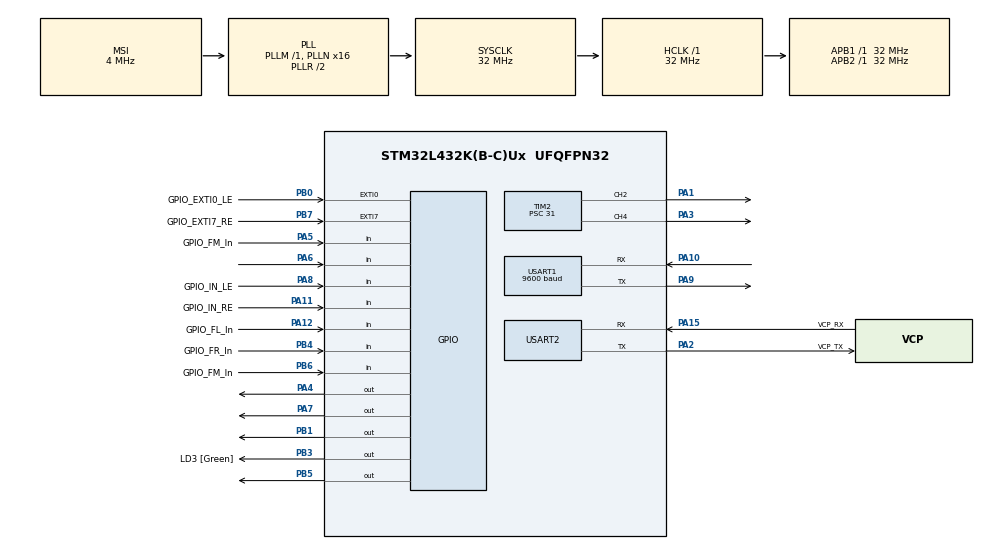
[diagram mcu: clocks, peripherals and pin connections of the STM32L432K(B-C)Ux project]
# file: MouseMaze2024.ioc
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Mcu.Family=STM32L4
Mcu.Name=STM32L432K(B-C)Ux
Mcu.Package=UFQFPN32
NVIC.EXTI0_IRQn=true\:0\:0\:true\:false\:true\:true\:true\:true
NVIC.EXTI9_5_IRQn=true\:0\:0\:true\:false\:true\:true\:true\:true
NVIC.PriorityGroup=NVIC_PRIORITYGROUP_4
PA0.GPIO_Label=MCO [High speed clock in]
PA0.Mode=HSE-External-Clock-Source-for-LittleOrca
PA0.Signal=RCC_CK_IN
PA1.Signal=S_TIM2_CH2
PA10.Mode=Asynchronous
PA10.Signal=USART1_RX
PA11.GPIO_Label=GPIO_IN_RE
PA11.Signal=GPIO_Input
PA12.GPIO_Label=GPIO_FL_In
PA12.Signal=GPIO_Input
PA13\ (JTMS-SWDIO).GPIO_Label=SWDIO
PA13\ (JTMS-SWDIO).Mode=Serial_Wire
PA13\ (JTMS-SWDIO).Signal=SYS_JTMS-SWDIO
PA14\ (JTCK-SWCLK).GPIO_Label=SWCLK
PA14\ (JTCK-SWCLK).Mode=Serial_Wire
PA14\ (JTCK-SWCLK).Signal=SYS_JTCK-SWCLK
PA15\ (JTDI).GPIO_Label=VCP_RX
PA15\ (JTDI).Mode=Asynchronous
PA15\ (JTDI).Signal=USART2_RX
PA2.GPIO_Label=VCP_TX
PA2.Mode=Asynchronous
PA2.Signal=USART2_TX
PA3.Signal=S_TIM2_CH4
PA4.Signal=GPIO_Output
PA5.GPIO_Label=GPIO_FM_In
PA5.Signal=GPIO_Input
PA6.Signal=GPIO_Input
PA7.Signal=GPIO_Output
PA8.GPIO_Label=GPIO_IN_LE
PA8.Signal=GPIO_Input
PA9.Mode=Asynchronous
PA9.Signal=USART1_TX
PB0.GPIO_Label=GPIO_EXTI0_LE
PB0.Signal=GPXTI0
PB1.Signal=GPIO_Output
PB3\ (JTDO-TRACESWO).GPIO_Label=LD3 [Green]
PB3\ (JTDO-TRACESWO).Signal=GPIO_Output
PB4\ (NJTRST).GPIO_Label=GPIO_FR_In
PB4\ (NJTRST).Signal=GPIO_Input
PB5.Signal=GPIO_Output
PB6.GPIO_Label=GPIO_FM_In
PB6.Signal=GPIO_Input
PB7.GPIO_Label=GPIO_EXTI7_RE
PB7.Signal=GPXTI7
PC14-OSC32_IN\ (PC14).Mode=LSE-External-Oscillator
PC14-OSC32_IN\ (PC14).Signal=RCC_OSC32_IN
PC15-OSC32_OUT\ (PC15).Mode=LSE-External-Oscillator
PC15-OSC32_OUT\ (PC15).Signal=RCC_OSC32_OUT
ProjectManager.HeapSize=0x200
ProjectManager.StackSize=0x400
ProjectManager.TargetToolchain=STM32CubeIDE
RCC.AHBFreq_Value=32000000
RCC.APB1Freq_Value=32000000
RCC.APB1TimFreq_Value=32000000
RCC.APB2Freq_Value=32000000
RCC.APB2TimFreq_Value=32000000
RCC.CortexFreq_Value=32000000
RCC.HCLKFreq_Value=32000000
RCC.HSE_VALUE=8000000
RCC.HSI16_VALUE=16000000
RCC.HSI48_VALUE=48000000
RCC.HSI_VALUE=16000000
RCC.MSI_VALUE=4000000
RCC.PLLMUL=RCC_PLLMUL_4
RCC.PLLN=16
RCC.SYSCLKFreq_VALUE=32000000
RCC.SYSCLKSource=RCC_SYSCLKSOURCE_PLLCLK
RCC.VCOOutputFreq_Value=64000000
SH.S_TIM2_CH2.0=TIM2_CH2,PWM Generation2 CH2
SH.S_TIM2_CH4.0=TIM2_CH4,PWM Generation4 CH4
TIM2.AutoReloadPreload=TIM_AUTORELOAD_PRELOAD_ENABLE
TIM2.Channel-PWM\ Generation2\ CH2=TIM_CHANNEL_2
TIM2.Channel-PWM\ Generation4\ CH4=TIM_CHANNEL_4
TIM2.OCMode_PWM-PWM\ Generation4\ CH4=TIM_OCMODE_PWM1
TIM2.Period=99
TIM2.Prescaler=31
TIM2.Pulse-PWM\ Generation2\ CH2=0
TIM2.Pulse-PWM\ Generation4\ CH4=0
USART1.BaudRate=9600
USART1.VirtualMode-Asynchronous=VM_ASYNC
USART2.VirtualMode-Asynchronous=VM_ASYNC
VP_TIM2_VS_ClockSourceINT.Mode=Internal
board=NUCLEO-L432KC

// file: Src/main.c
/* USER CODE BEGIN Header */
/**
  ******************************************************************************
  * @file           : main.c
  * @brief          : Main program body
  ******************************************************************************
  * @attention
  *
  * Copyright (c) 2024 STMicroelectronics.
  * All rights reserved.
  *
  * This software is licensed under terms that can be found in the LICENSE file
  * in the root directory of this software component.
  * If no LICENSE file comes with this software, it is provided AS-IS.
  *
  ******************************************************************************
  */
/* USER CODE END Header */
#include "main.h"

/* USER CODE BEGIN Includes */
#include <stdio.h>
/* USER CODE END Includes */

/* USER CODE BEGIN PD */
#define RIGHT_MOTOR_PWM TIM_CHANNEL_2
#define LEFT_MOTOR_PWM  TIM_CHANNEL_4

#define GPIO_FR_In GPIOB,GPIO_PIN_6
#define GPIO_LS_In GPIOA,GPIO_PIN_6
#define GPIO_FM_In GPIOA,GPIO_PIN_5
#define GPIO_RS_In GPIOB ,GPIO_PIN_4
#define GPIO_FL_In GPIOA ,GPIO_PIN_12

/* USER CODE END PD */

TIM_HandleTypeDef htim2;

UART_HandleTypeDef huart1;
UART_HandleTypeDef huart2;

/* USER CODE BEGIN PV */
// Global variables to store encoder counts

// Declare variables to store encoder counts
volatile int EN1 = 0;
volatile int EN2 = 0;
volatile uint8_t right_wall ;
volatile uint8_t front_wall;
volatile uint8_t rightSensorStatus ;
volatile uint8_t leftSensorStatus;

/* USER CODE END PV */

void SystemClock_Config(void);
static void MX_GPIO_Init(void);
static void MX_TIM2_Init(void);
static void MX_USART2_UART_Init(void);
static void MX_USART1_UART_Init(void);
/* USER CODE BEGIN PFP */
void MoveMotorLeftForward(uint8_t speed);
void MoveMotorRightForward(uint8_t speed);
void MoveMotorLeftBackward(uint8_t speed);
void MoveMotorRightBackward(uint8_t speed);
void FollowLine(void);
void set_motor_speed(uint32_t right_speed, uint32_t left_speed);
int read_sensor(GPIO_TypeDef *GPIOx, uint16_t GPIO_Pin);
void follow_right_wall(void);

void turn_90_degrees_left(void);

int get_right_encoder_count(void);
int get_left_encoder_count(void);

/* USER CODE END PFP */

/* USER CODE BEGIN 0 */
// Define constants

void HAL_GPIO_EXTI_Callback(uint16_t GPIO_Pin)
{
    if (GPIO_Pin == GPIO_PIN_7)
    {

    	GPIO_PinState pinState = HAL_GPIO_ReadPin(GPIOA, GPIO_PIN_11);

    	        // Update encoder count based on the state of GPIO_PIN_11
    	        if (pinState == GPIO_PIN_SET)
    	        {
    	            EN1++;
    	        }
    	        else
    	        {
    	            EN1--;
    	        }

    }

    if (GPIO_Pin == GPIO_PIN_0)
    {
        // Read current state of encoder pin PB0

    	GPIO_PinState pinState2 = HAL_GPIO_ReadPin(GPIOA, GPIO_PIN_8);

    	 // Update encoder count based on the state of GPIO_PIN_11
    	    	        if (pinState2 == GPIO_PIN_SET)
    	    	        {
    	    	            EN2++;
    	    	        }
    	    	        else
    	    	        {
    	    	            EN2--;
    	    	        }
    }
}

void turn_90_degrees_left() {
	EN1 = 0;
	EN2 = 0;
	    while (EN1 <=220 && EN2 <= 220) {

	        MoveMotorRightForward(55);
	        MoveMotorLeftBackward(60);

	    }
}

void stop(){
	__HAL_TIM_SET_COMPARE(&htim2, TIM_CHANNEL_2, 0);
	__HAL_TIM_SET_COMPARE(&htim2, TIM_CHANNEL_4, 0);
}

void MoveMotorLeftBackward(uint8_t speed) {
    // Set motor to spin forward
	HAL_GPIO_WritePin(GPIOB, GPIO_PIN_5,GPIO_PIN_SET ); // BIN1 = High
	HAL_GPIO_WritePin(GPIOB, GPIO_PIN_1, GPIO_PIN_RESET); // BIN2 = Low

    // Set speed

    __HAL_TIM_SET_COMPARE(&htim2, TIM_CHANNEL_2, speed);
    //HAL_TIM_PWM_Start(&htim2, TIM_CHANNEL_2); // Ensure PWM is started

}
void MoveMotorLeftForward(uint8_t speed) {
    // Set motor to spin backward
	 HAL_GPIO_WritePin(GPIOB, GPIO_PIN_5, GPIO_PIN_RESET); // BIN1 = Low
	 HAL_GPIO_WritePin(GPIOB, GPIO_PIN_1, GPIO_PIN_SET); // BIN2 = High

    // Set speed

    __HAL_TIM_SET_COMPARE(&htim2, TIM_CHANNEL_2, speed);
   // HAL_TIM_PWM_Start(&htim2, TIM_CHANNEL_2); // Ensure PWM is started
}

void MoveMotorRightBackward(uint8_t speed) {
    // Set motor2 to spin forward
    HAL_GPIO_WritePin(GPIOA, GPIO_PIN_4, GPIO_PIN_SET);   //AIN1 = High
    HAL_GPIO_WritePin(GPIOA, GPIO_PIN_7, GPIO_PIN_RESET); // AIN2 = Low

    // Set speed for motor2

    __HAL_TIM_SET_COMPARE(&htim2, TIM_CHANNEL_4, speed);

}

void MoveMotorRightForward(uint8_t speed) {
    // Set motor2 to spin backward
    HAL_GPIO_WritePin(GPIOA, GPIO_PIN_4, GPIO_PIN_RESET); // IN1 = Low
    HAL_GPIO_WritePin(GPIOA, GPIO_PIN_7, GPIO_PIN_SET);   // BIN2 = High

    // Set speed for motor2

    __HAL_TIM_SET_COMPARE(&htim2, TIM_CHANNEL_4, speed);

}
void FollowLine(void) {
    int leftSensorStatus = HAL_GPIO_ReadPin(GPIOA, GPIO_FL_In_Pin);  // Read left IR sensor
    int rightSensorStatus = HAL_GPIO_ReadPin(GPIOB,GPIO_FR_In_Pin); // Read right IR sensor

    if (leftSensorStatus == GPIO_PIN_RESET && rightSensorStatus == GPIO_PIN_RESET) {
        // Both sensors detect the line, move forward
        MoveMotorLeftForward(65);
        MoveMotorRightForward(70);

    } else if (leftSensorStatus == GPIO_PIN_RESET && rightSensorStatus == GPIO_PIN_SET) {
        // Left sensor detects the line, right sen doesnt detect, turn slightly left
        MoveMotorLeftForward(20);
        MoveMotorRightForward(80);

    } else if  ( leftSensorStatus== GPIO_PIN_SET && rightSensorStatus == GPIO_PIN_RESET){

        // Left sensor doesnt detects the line, right sensor detects the line, turn slightly right
        MoveMotorLeftForward(80);
        MoveMotorRightForward(24);

    }

}

void follow_right_wall(void) {

	//GPIO_PIN_RESET - wall detecting
	 right_wall = HAL_GPIO_ReadPin(GPIOB, GPIO_PIN_6);
     front_wall = HAL_GPIO_ReadPin(GPIOA, GPIO_PIN_5);
     rightSensorStatus = HAL_GPIO_ReadPin(GPIOB, GPIO_FR_In_Pin);
     leftSensorStatus = HAL_GPIO_ReadPin(GPIOA, GPIO_FL_In_Pin);

    if (right_wall == GPIO_PIN_RESET){

   	//go straight
   	   MoveMotorLeftForward(55);
   	   MoveMotorRightForward(60);

    }else if(right_wall == GPIO_PIN_SET) {
       // Slightly speed up left motor to straighten the robot
   	    MoveMotorLeftForward(80);
   	    MoveMotorRightForward(30);

    }else if(front_wall == GPIO_PIN_RESET){

    	turn_90_degrees_left();

    }else if (rightSensorStatus == GPIO_PIN_SET) {

    	MoveMotorLeftForward(30);
        MoveMotorRightForward(70);
        FollowLine();

    }

}

int read_sensor(GPIO_TypeDef *GPIOx, uint16_t GPIO_Pin) {
    return HAL_GPIO_ReadPin(GPIOx, GPIO_Pin);
}

/* USER CODE END 0 */

int main(void)
{

  /* MCU Configuration--------------------------------------------------------*/

  /* Reset of all peripherals, Initializes the Flash interface and the Systick. */
  HAL_Init();

  /* Configure the system clock */
  SystemClock_Config();

  /* Initialize all configured peripherals */
  MX_GPIO_Init();
  MX_TIM2_Init();
  MX_USART2_UART_Init();
  MX_USART1_UART_Init();
  /* USER CODE BEGIN 2 */
  // Initialization code somewhere after configuring the PWM channel

    HAL_TIM_PWM_Start(&htim2, TIM_CHANNEL_2); 									// Start PWM on TIM2, Channel 2     (Motor B)
    HAL_TIM_PWM_Start(&htim2, TIM_CHANNEL_4); 									// Start PWM on TIM2, Channel       (Motor A)

  /* USER CODE END 2 */

  /* Infinite loop */
  while (1)
  {

    /* USER CODE BEGIN 3 */

//	  if((front_wall == GPIO_PIN_SET) &&  (right_wall == GPIO_PIN_SET )  && (left_wall == GPIO_PIN_SET)){
//
//	  			MoveMotorLeftForward(40);
//	  	     	MoveMotorRightForward(60);
//
//	  	    	FollowLine();

	  	    //}+
//	 char msg[64];
//	          int msg_length = sprintf(msg, "Ticks R : %d, Ticks L : %d\r\n", EN1, EN2);
//	          HAL_UART_Transmit(&huart2, (uint8_t*)msg, msg_length, HAL_MAX_DELAY);
//

	  follow_right_wall();

  }
  /* USER CODE END 3 */
}

void SystemClock_Config(void)
{
  RCC_OscInitTypeDef RCC_OscInitStruct = {0};
  RCC_ClkInitTypeDef RCC_ClkInitStruct = {0};

  /** Configure the main internal regulator output voltage
  */
  if (HAL_PWREx_ControlVoltageScaling(PWR_REGULATOR_VOLTAGE_SCALE1) != HAL_OK)
  {
    Error_Handler();
  }

  /** Configure LSE Drive Capability
  */
  HAL_PWR_EnableBkUpAccess();
  __HAL_RCC_LSEDRIVE_CONFIG(RCC_LSEDRIVE_LOW);

  /** Initializes the RCC Oscillators according to the specified parameters
  * in the RCC_OscInitTypeDef structure.
  */
  RCC_OscInitStruct.OscillatorType = RCC_OSCILLATORTYPE_LSE|RCC_OSCILLATORTYPE_MSI;
  RCC_OscInitStruct.LSEState = RCC_LSE_ON;
  RCC_OscInitStruct.MSIState = RCC_MSI_ON;
  RCC_OscInitStruct.MSICalibrationValue = 0;
  RCC_OscInitStruct.MSIClockRange = RCC_MSIRANGE_6;
  RCC_OscInitStruct.PLL.PLLState = RCC_PLL_ON;
  RCC_OscInitStruct.PLL.PLLSource = RCC_PLLSOURCE_MSI;
  RCC_OscInitStruct.PLL.PLLM = 1;
  RCC_OscInitStruct.PLL.PLLN = 16;
  RCC_OscInitStruct.PLL.PLLP = RCC_PLLP_DIV7;
  RCC_OscInitStruct.PLL.PLLQ = RCC_PLLQ_DIV2;
  RCC_OscInitStruct.PLL.PLLR = RCC_PLLR_DIV2;
  if (HAL_RCC_OscConfig(&RCC_OscInitStruct) != HAL_OK)
  {
    Error_Handler();
  }

  /** Initializes the CPU, AHB and APB buses clocks
  */
  RCC_ClkInitStruct.ClockType = RCC_CLOCKTYPE_HCLK|RCC_CLOCKTYPE_SYSCLK
                              |RCC_CLOCKTYPE_PCLK1|RCC_CLOCKTYPE_PCLK2;
  RCC_ClkInitStruct.SYSCLKSource = RCC_SYSCLKSOURCE_PLLCLK;
  RCC_ClkInitStruct.AHBCLKDivider = RCC_SYSCLK_DIV1;
  RCC_ClkInitStruct.APB1CLKDivider = RCC_HCLK_DIV1;
  RCC_ClkInitStruct.APB2CLKDivider = RCC_HCLK_DIV1;

  if (HAL_RCC_ClockConfig(&RCC_ClkInitStruct, FLASH_LATENCY_1) != HAL_OK)
  {
    Error_Handler();
  }

  /** Enable MSI Auto calibration
  */
  HAL_RCCEx_EnableMSIPLLMode();
}

static void MX_TIM2_Init(void)
{

  TIM_ClockConfigTypeDef sClockSourceConfig = {0};
  TIM_MasterConfigTypeDef sMasterConfig = {0};
  TIM_OC_InitTypeDef sConfigOC = {0};

  htim2.Instance = TIM2;
  htim2.Init.Prescaler = 31;
  htim2.Init.CounterMode = TIM_COUNTERMODE_UP;
  htim2.Init.Period = 99;
  htim2.Init.ClockDivision = TIM_CLOCKDIVISION_DIV1;
  htim2.Init.AutoReloadPreload = TIM_AUTORELOAD_PRELOAD_ENABLE;
  if (HAL_TIM_Base_Init(&htim2) != HAL_OK)
  {
    Error_Handler();
  }
  sClockSourceConfig.ClockSource = TIM_CLOCKSOURCE_INTERNAL;
  if (HAL_TIM_ConfigClockSource(&htim2, &sClockSourceConfig) != HAL_OK)
  {
    Error_Handler();
  }
  if (HAL_TIM_PWM_Init(&htim2) != HAL_OK)
  {
    Error_Handler();
  }
  sMasterConfig.MasterOutputTrigger = TIM_TRGO_RESET;
  sMasterConfig.MasterSlaveMode = TIM_MASTERSLAVEMODE_DISABLE;
  if (HAL_TIMEx_MasterConfigSynchronization(&htim2, &sMasterConfig) != HAL_OK)
  {
    Error_Handler();
  }
  sConfigOC.OCMode = TIM_OCMODE_PWM1;
  sConfigOC.Pulse = 0;
  sConfigOC.OCPolarity = TIM_OCPOLARITY_HIGH;
  sConfigOC.OCFastMode = TIM_OCFAST_DISABLE;
  if (HAL_TIM_PWM_ConfigChannel(&htim2, &sConfigOC, TIM_CHANNEL_2) != HAL_OK)
  {
    Error_Handler();
  }
  if (HAL_TIM_PWM_ConfigChannel(&htim2, &sConfigOC, TIM_CHANNEL_4) != HAL_OK)
  {
    Error_Handler();
  }
  HAL_TIM_MspPostInit(&htim2);

}

static void MX_USART1_UART_Init(void)
{

  huart1.Instance = USART1;
  huart1.Init.BaudRate = 9600;
  huart1.Init.WordLength = UART_WORDLENGTH_8B;
  huart1.Init.StopBits = UART_STOPBITS_1;
  huart1.Init.Parity = UART_PARITY_NONE;
  huart1.Init.Mode = UART_MODE_TX_RX;
  huart1.Init.HwFlowCtl = UART_HWCONTROL_NONE;
  huart1.Init.OverSampling = UART_OVERSAMPLING_16;
  huart1.Init.OneBitSampling = UART_ONE_BIT_SAMPLE_DISABLE;
  huart1.AdvancedInit.AdvFeatureInit = UART_ADVFEATURE_NO_INIT;
  if (HAL_UART_Init(&huart1) != HAL_OK)
  {
    Error_Handler();
  }

}

static void MX_USART2_UART_Init(void)
{

  huart2.Instance = USART2;
  huart2.Init.BaudRate = 115200;
  huart2.Init.WordLength = UART_WORDLENGTH_8B;
  huart2.Init.StopBits = UART_STOPBITS_1;
  huart2.Init.Parity = UART_PARITY_NONE;
  huart2.Init.Mode = UART_MODE_TX_RX;
  huart2.Init.HwFlowCtl = UART_HWCONTROL_NONE;
  huart2.Init.OverSampling = UART_OVERSAMPLING_16;
  huart2.Init.OneBitSampling = UART_ONE_BIT_SAMPLE_DISABLE;
  huart2.AdvancedInit.AdvFeatureInit = UART_ADVFEATURE_NO_INIT;
  if (HAL_UART_Init(&huart2) != HAL_OK)
  {
    Error_Handler();
  }

}

static void MX_GPIO_Init(void)
{
  GPIO_InitTypeDef GPIO_InitStruct = {0};

  /* GPIO Ports Clock Enable */
  __HAL_RCC_GPIOC_CLK_ENABLE();
  __HAL_RCC_GPIOA_CLK_ENABLE();
  __HAL_RCC_GPIOB_CLK_ENABLE();

  /*Configure GPIO pin Output Level */
  HAL_GPIO_WritePin(GPIOA, GPIO_PIN_4|GPIO_PIN_7, GPIO_PIN_RESET);

  /*Configure GPIO pin Output Level */
  HAL_GPIO_WritePin(GPIOB, GPIO_PIN_1|LD3_Pin|GPIO_PIN_5, GPIO_PIN_RESET);

  /*Configure GPIO pins : PA4 PA7 */
  GPIO_InitStruct.Pin = GPIO_PIN_4|GPIO_PIN_7;
  GPIO_InitStruct.Mode = GPIO_MODE_OUTPUT_PP;
  GPIO_InitStruct.Pull = GPIO_NOPULL;
  GPIO_InitStruct.Speed = GPIO_SPEED_FREQ_LOW;
  HAL_GPIO_Init(GPIOA, &GPIO_InitStruct);

  /*Configure GPIO pins : GPIO_FM_In_Pin PA6 GPIO_IN_LE_Pin GPIO_IN_RE_Pin
                           GPIO_FL_In_Pin */
  GPIO_InitStruct.Pin = GPIO_FM_In_Pin|GPIO_PIN_6|GPIO_IN_LE_Pin|GPIO_IN_RE_Pin
                          |GPIO_FL_In_Pin;
  GPIO_InitStruct.Mode = GPIO_MODE_INPUT;
  GPIO_InitStruct.Pull = GPIO_NOPULL;
  HAL_GPIO_Init(GPIOA, &GPIO_InitStruct);

  /*Configure GPIO pins : GPIO_EXTI0_LE_Pin GPIO_EXTI7_RE_Pin */
  GPIO_InitStruct.Pin = GPIO_EXTI0_LE_Pin|GPIO_EXTI7_RE_Pin;
  GPIO_InitStruct.Mode = GPIO_MODE_IT_RISING;
  GPIO_InitStruct.Pull = GPIO_NOPULL;
  HAL_GPIO_Init(GPIOB, &GPIO_InitStruct);

  /*Configure GPIO pins : PB1 LD3_Pin PB5 */
  GPIO_InitStruct.Pin = GPIO_PIN_1|LD3_Pin|GPIO_PIN_5;
  GPIO_InitStruct.Mode = GPIO_MODE_OUTPUT_PP;
  GPIO_InitStruct.Pull = GPIO_NOPULL;
  GPIO_InitStruct.Speed = GPIO_SPEED_FREQ_LOW;
  HAL_GPIO_Init(GPIOB, &GPIO_InitStruct);

  /*Configure GPIO pins : GPIO_FR_In_Pin GPIO_FM_InB6_Pin */
  GPIO_InitStruct.Pin = GPIO_FR_In_Pin|GPIO_FM_InB6_Pin;
  GPIO_InitStruct.Mode = GPIO_MODE_INPUT;
  GPIO_InitStruct.Pull = GPIO_NOPULL;
  HAL_GPIO_Init(GPIOB, &GPIO_InitStruct);

  /* EXTI interrupt init*/
  HAL_NVIC_SetPriority(EXTI0_IRQn, 0, 0);
  HAL_NVIC_EnableIRQ(EXTI0_IRQn);

  HAL_NVIC_SetPriority(EXTI9_5_IRQn, 0, 0);
  HAL_NVIC_EnableIRQ(EXTI9_5_IRQn);

}

void Error_Handler(void)
{
  __disable_irq();
  while (1)
  {
  }
}
